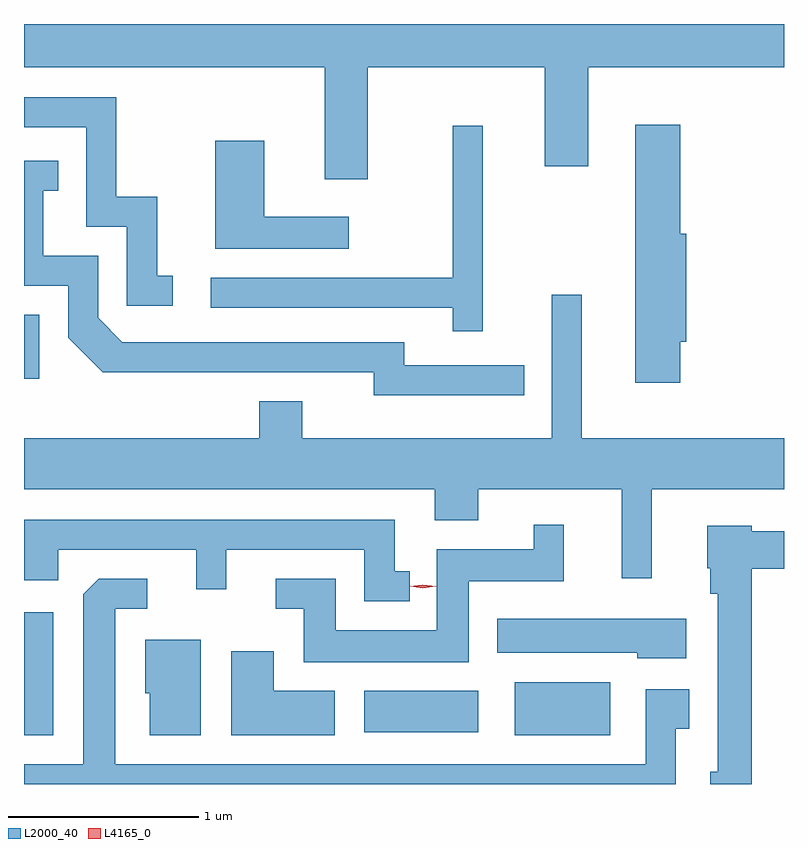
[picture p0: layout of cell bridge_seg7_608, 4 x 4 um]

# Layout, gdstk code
import gdstk
lib = gdstk.Library(unit=1e-6, precision=1e-09)
def R(c, l, rs):  # rectangles x0, y0, x1, y1
    for r in rs: c.add(gdstk.rectangle(r[:2], r[2:], *l))
def P(c, l, *ps):  # polygons
    for p in ps: c.add(gdstk.Polygon(p, *l))
L2000_40 = (2000, 40)
L4165_0 = (4165, 0)

bridge_seg7_608 = lib.new_cell('bridge_seg7_608')
R(bridge_seg7_608, L2000_40, [(815.509,1690.821,815.664,1691.469), (818.091,1690.821,818.594,1691.099), (817.301,1690.836,817.899,1691.054), (815.509,1692.698,815.589,1693.034)])
P(bridge_seg7_608, L2000_40, [(817.319,1694.336),(818.251,1694.336),(818.251,1693.816),(818.479,1693.816),(818.479,1694.336),(819.509,1694.336),(819.509,1694.564),(815.509,1694.564),(815.509,1694.336),(817.091,1694.336),(817.091,1693.746),(817.319,1693.746)],
  [(816.293,1693.239),(816.209,1693.239),(816.209,1693.654),(815.994,1693.654),(815.994,1694.179),(815.509,1694.179),(815.509,1694.021),(815.836,1694.021),(815.836,1693.496),(816.051,1693.496),(816.051,1693.081),(816.293,1693.081)],
  [(818.964,1692.891),(818.994,1692.891),(818.994,1693.459),(818.964,1693.459),(818.964,1694.034),(818.726,1694.034),(818.726,1692.676),(818.964,1692.676)],
  [(817.924,1694.028),(817.766,1694.028),(817.766,1693.229),(816.493,1693.229),(816.493,1693.071),(817.766,1693.071),(817.766,1692.948),(817.924,1692.948)],
  [(817.218,1693.549),(816.774,1693.549),(816.774,1693.949),(816.516,1693.949),(816.516,1693.381),(817.218,1693.381)],
  [(818.143,1692.769),(817.509,1692.769),(817.509,1692.889),(816.027,1692.889),(815.899,1693.017),(815.899,1693.344),(815.609,1693.344),(815.609,1693.686),(815.688,1693.686),(815.688,1693.844),(815.509,1693.844),(815.509,1693.186),(815.741,1693.186),(815.741,1692.914),(815.924,1692.731),(817.351,1692.731),(817.351,1692.611),(818.143,1692.611)],
  [(818.444,1693.138),(818.286,1693.138),(818.286,1692.384),(816.974,1692.384),(816.974,1692.579),(816.746,1692.579),(816.746,1692.384),(815.509,1692.384),(815.509,1692.116),(817.671,1692.116),(817.671,1691.951),(817.899,1691.951),(817.899,1692.116),(818.656,1692.116),(818.656,1691.648),(818.814,1691.648),(818.814,1692.116),(819.509,1692.116),(819.509,1692.384),(818.444,1692.384)],
  [(817.538,1691.684),(817.459,1691.684),(817.459,1691.954),(815.509,1691.954),(815.509,1691.636),(815.689,1691.636),(815.689,1691.796),(816.416,1691.796),(816.416,1691.588),(816.574,1691.588),(816.574,1691.796),(817.301,1691.796),(817.301,1691.526),(817.538,1691.526)],
  [(817.849,1691.631),(818.349,1691.631),(818.349,1691.928),(818.191,1691.928),(818.191,1691.799),(817.681,1691.799),(817.681,1691.374),(817.149,1691.374),(817.149,1691.644),(816.833,1691.644),(816.833,1691.486),(816.981,1691.486),(816.981,1691.206),(817.849,1691.206)],
  [(819.339,1691.696),(819.509,1691.696),(819.509,1691.894),(819.339,1691.894),(819.339,1691.924),(819.106,1691.924),(819.106,1691.7),(819.121,1691.7),(819.121,1691.566),(819.161,1691.566),(819.161,1690.629),(819.121,1690.629),(819.121,1690.564),(819.339,1690.564)],
  [(818.939,1690.856),(819.009,1690.856),(819.009,1691.064),(818.781,1691.064),(818.781,1690.669),(815.989,1690.669),(815.989,1691.486),(816.158,1691.486),(816.158,1691.644),(815.902,1691.644),(815.821,1691.564),(815.821,1690.669),(815.509,1690.669),(815.509,1690.564),(818.939,1690.564)],
  [(818.994,1691.434),(818.001,1691.434),(818.001,1691.256),(818.736,1691.256),(818.736,1691.226),(818.994,1691.226)],
  [(816.439,1691.324),(816.146,1691.324),(816.146,1691.041),(816.171,1691.041),(816.171,1690.821),(816.439,1690.821)],
  [(817.144,1691.054),(816.824,1691.054),(816.824,1691.264),(816.601,1691.264),(816.601,1690.821),(817.144,1690.821)])
P(bridge_seg7_608, L4165_0, [(817.608,1691.594),(817.539,1691.604),(817.539,1691.604),(817.539,1691.605),(817.608,1691.614),(817.678,1691.605),(817.678,1691.604),(817.678,1691.604)])

lib.write_gds('bridge_seg7_608.gds')
